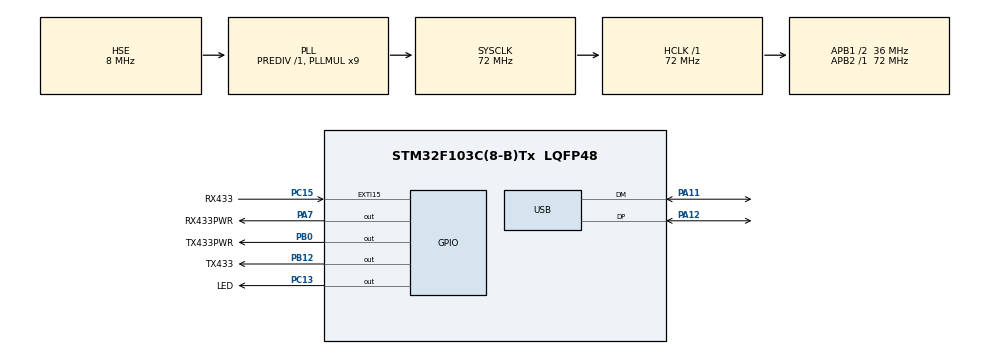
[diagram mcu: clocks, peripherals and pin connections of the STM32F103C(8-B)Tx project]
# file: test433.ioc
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Mcu.Family=STM32F1
Mcu.Name=STM32F103C(8-B)Tx
Mcu.Package=LQFP48
NVIC.EXTI15_10_IRQn=true\:0\:0\:false\:false\:true\:true\:true
NVIC.PriorityGroup=NVIC_PRIORITYGROUP_4
NVIC.USB_LP_CAN1_RX0_IRQn=true\:0\:0\:false\:false\:true\:false\:true
PA11.Mode=Device
PA11.Signal=USB_DM
PA12.Mode=Device
PA12.Signal=USB_DP
PA13.Mode=Serial_Wire
PA13.Signal=SYS_JTMS-SWDIO
PA14.Mode=Serial_Wire
PA14.Signal=SYS_JTCK-SWCLK
PA7.GPIO_Label=RX433PWR
PA7.Signal=GPIO_Output
PB0.GPIO_Label=TX433PWR
PB0.Signal=GPIO_Output
PB12.GPIO_Label=TX433
PB12.Signal=GPIO_Output
PC13-TAMPER-RTC.GPIO_Label=LED
PC13-TAMPER-RTC.Signal=GPIO_Output
PC15-OSC32_OUT.GPIO_Label=RX433
PC15-OSC32_OUT.GPIO_ModeDefaultEXTI=GPIO_MODE_IT_RISING_FALLING
PC15-OSC32_OUT.GPIO_PuPd=GPIO_NOPULL
PC15-OSC32_OUT.Signal=GPXTI15
PD0-OSC_IN.Mode=HSE-External-Oscillator
PD0-OSC_IN.Signal=RCC_OSC_IN
PD1-OSC_OUT.Mode=HSE-External-Oscillator
PD1-OSC_OUT.Signal=RCC_OSC_OUT
ProjectManager.HeapSize=0x400
ProjectManager.StackSize=0x800
ProjectManager.TargetToolchain=STM32CubeIDE
RCC.AHBFreq_Value=72000000
RCC.APB1CLKDivider=RCC_HCLK_DIV2
RCC.APB1Freq_Value=36000000
RCC.APB1TimFreq_Value=72000000
RCC.APB2Freq_Value=72000000
RCC.APB2TimFreq_Value=72000000
RCC.HCLKFreq_Value=72000000
RCC.PLLMUL=RCC_PLL_MUL9
RCC.PLLSourceVirtual=RCC_PLLSOURCE_HSE
RCC.SYSCLKFreq_VALUE=72000000
RCC.SYSCLKSource=RCC_SYSCLKSOURCE_PLLCLK
RCC.USBFreq_Value=48000000
RCC.USBPrescaler=RCC_USBCLKSOURCE_PLL_DIV1_5
USB_DEVICE.CLASS_NAME_FS=CDC
USB_DEVICE.VirtualMode=Cdc
USB_DEVICE.VirtualModeFS=Cdc_FS
VP_USB_DEVICE_VS_USB_DEVICE_CDC_FS.Mode=CDC_FS
board=custom

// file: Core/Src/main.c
/* USER CODE BEGIN Header */
/**
  ******************************************************************************
  * @file           : main.c
  * @brief          : Main program body
  ******************************************************************************
  * @attention
  *
  * <h2><center>&copy; Copyright (c) 2019 STMicroelectronics.
  * All rights reserved.</center></h2>
  *
  * This software component is licensed by ST under BSD 3-Clause license,
  * the "License"; You may not use this file except in compliance with the
  * License. You may obtain a copy of the License at:
  *                        opensource.org/licenses/BSD-3-Clause
  *
  ******************************************************************************
  */
/* USER CODE END Header */

#include "main.h"
#include "usb_device.h"
#include "gpio.h"

/* USER CODE BEGIN Includes */
#include "micros.h"
#include "rf-barrier.h"
#include "usbd_cdc_if.h"
/* USER CODE END Includes */

void SystemClock_Config(void);

/* USER CODE BEGIN 0 */

void HAL_GPIO_EXTI_Callback(uint16_t GPIO_Pin) {
	switch(GPIO_Pin){
		case RXPIN:
		{
			RX433_Int();
		}
	}
}

/* USER CODE END 0 */

int main(void)
{

  /* MCU Configuration--------------------------------------------------------*/

  /* Reset of all peripherals, Initializes the Flash interface and the Systick. */
  HAL_Init();

  /* Configure the system clock */
  SystemClock_Config();

  /* Initialize all configured peripherals */
  MX_GPIO_Init();
  MX_USB_DEVICE_Init();
  /* USER CODE BEGIN 2 */

  DWT_Init();

//  came12_brute();

  /* USER CODE END 2 */

  /* Infinite loop */
  /* USER CODE BEGIN WHILE */
  while (1)
  {

	RF_send_bin(&proto_came12, "000000000000");
	RF_send_bin(&proto_came12, "111111111111");

	RF_send(&proto_came12, 0);
	RF_send(&proto_came12, 1);
	RF_send(&proto_came12, 2);
	RF_send(&proto_came12, 3);
	RF_send(&proto_came12, 4095);

	RF_send(&proto_came24, 0);
	RF_send(&proto_came24, 1);
	RF_send(&proto_came24, 2);
	RF_send(&proto_came24, 3);
	RF_send(&proto_came24, 16777215);

	RF_send(&proto_hcs301, 0);
	RF_send(&proto_hcs301, 1);
	RF_send(&proto_hcs301, 2);
	RF_send(&proto_hcs301, 3);
	RF_send(&proto_hcs301, 18446744073709551615);

	HAL_Delay(10000);

    /* USER CODE END WHILE */

  }
}

void SystemClock_Config(void)
{
  RCC_OscInitTypeDef RCC_OscInitStruct = {0};
  RCC_ClkInitTypeDef RCC_ClkInitStruct = {0};
  RCC_PeriphCLKInitTypeDef PeriphClkInit = {0};

  /** Initializes the CPU, AHB and APB busses clocks
  */
  RCC_OscInitStruct.OscillatorType = RCC_OSCILLATORTYPE_HSE;
  RCC_OscInitStruct.HSEState = RCC_HSE_ON;
  RCC_OscInitStruct.HSEPredivValue = RCC_HSE_PREDIV_DIV1;
  RCC_OscInitStruct.HSIState = RCC_HSI_ON;
  RCC_OscInitStruct.PLL.PLLState = RCC_PLL_ON;
  RCC_OscInitStruct.PLL.PLLSource = RCC_PLLSOURCE_HSE;
  RCC_OscInitStruct.PLL.PLLMUL = RCC_PLL_MUL9;
  if (HAL_RCC_OscConfig(&RCC_OscInitStruct) != HAL_OK)
  {
    Error_Handler();
  }
  /** Initializes the CPU, AHB and APB busses clocks
  */
  RCC_ClkInitStruct.ClockType = RCC_CLOCKTYPE_HCLK|RCC_CLOCKTYPE_SYSCLK
                              |RCC_CLOCKTYPE_PCLK1|RCC_CLOCKTYPE_PCLK2;
  RCC_ClkInitStruct.SYSCLKSource = RCC_SYSCLKSOURCE_PLLCLK;
  RCC_ClkInitStruct.AHBCLKDivider = RCC_SYSCLK_DIV1;
  RCC_ClkInitStruct.APB1CLKDivider = RCC_HCLK_DIV2;
  RCC_ClkInitStruct.APB2CLKDivider = RCC_HCLK_DIV1;

  if (HAL_RCC_ClockConfig(&RCC_ClkInitStruct, FLASH_LATENCY_2) != HAL_OK)
  {
    Error_Handler();
  }
  PeriphClkInit.PeriphClockSelection = RCC_PERIPHCLK_USB;
  PeriphClkInit.UsbClockSelection = RCC_USBCLKSOURCE_PLL_DIV1_5;
  if (HAL_RCCEx_PeriphCLKConfig(&PeriphClkInit) != HAL_OK)
  {
    Error_Handler();
  }
}

void Error_Handler(void)
{
}

/************************ (C) COPYRIGHT STMicroelectronics *****END OF FILE****/
